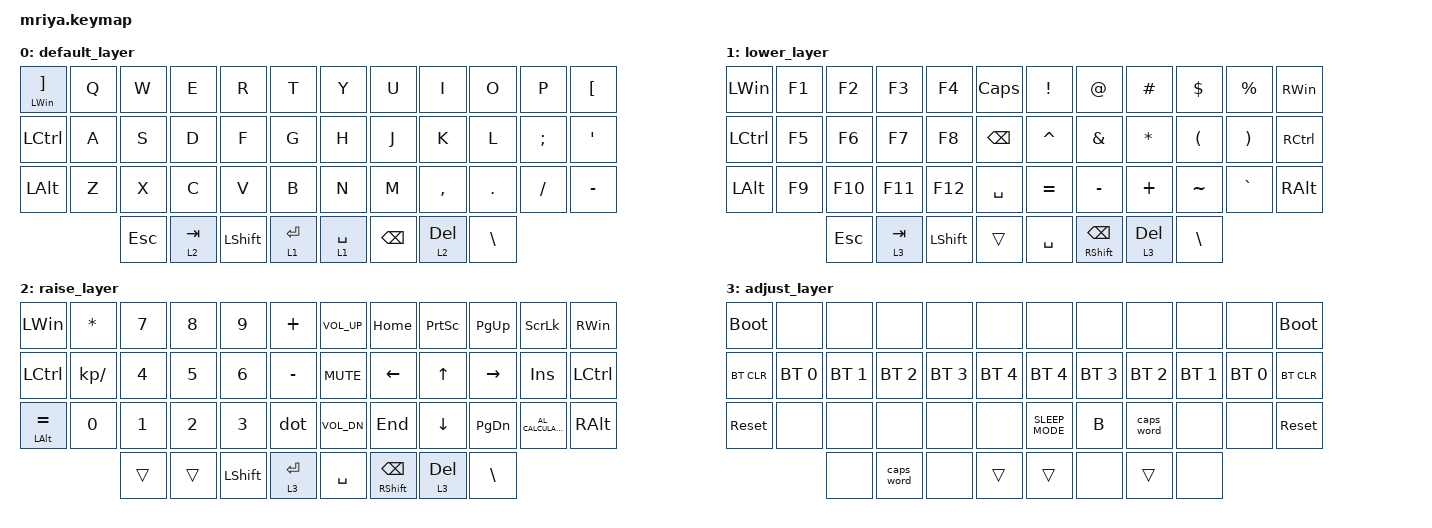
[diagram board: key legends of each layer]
/*
 * Copyright (c) 2023 Andrei Gaevskii
 *
 * SPDX-License-Identifier: MIT
 */

#include <behaviors.dtsi>
#include <dt-bindings/zmk/bt.h>
#include <dt-bindings/zmk/keys.h>

#define DEF 0
#define LWR 1
#define RSE 2
#define ADJ 3

&lt {
    quick_tap_ms = <200>;
    tapping-term-ms = <140>;
};

&mt {
    quick_tap_ms = <15>;
    tapping-term-ms = <150>;
};

/ {
    combos {
        compatible = "zmk,combos";

        firefox {
            bindings = <&kp LS(LA(LC(NUMBER_1)))>;
            key-positions = <15 16 17>;
        };

        delete {
            bindings = <&kp DEL>;
            key-positions = <4 17>;
        };

        minusexcel {
            bindings = <&kp LC(MINUS)>;
            key-positions = <1 2>;
        };

        minusgoogkle {
            bindings = <&MinusG>;
            key-positions = <0 1>;
        };

        space {
            bindings = <&kp SPACE>;
            key-positions = <3 5>;
        };

        UPUI {
            bindings = <&kp PAGE_UP>;
            key-positions = <2 3 4>;
        };

        DOWNj {
            bindings = <&kp PAGE_DOWN>;
            key-positions = <14 15 16>;
        };

        DelWord {
            bindings = <&kp LC(BACKSPACE)>;
            key-positions = <6 7 8>;
        };

        BS {
            bindings = <&kp BACKSPACE>;
            key-positions = <15 17>;
        };
    };

    behaviors {
        dot: dot {
            compatible = "zmk,behavior-tap-dance";
            label = "DOT";
            #binding-cells = <0>;
            bindings = <&kp DOT>, <&kp LS(SLASH)>, <&kp COMMA>;

            tapping-term-ms = <250>;
        };
    };

    macros {
        langswtich2: langswtich2 {
            compatible = "zmk,behavior-macro";
            #binding-cells = <0>;
            bindings =
                <&macro_press>,
                <&kp LEFT_ALT>,
                <&macro_tap>,
                <&kp LEFT_SHIFT>,
                <&macro_release>,
                <&kp LEFT_ALT>;

            label = "LANGSWTICH2";
        };

        MinusG: MinusG {
            compatible = "zmk,behavior-macro";
            #binding-cells = <0>;
            bindings =
                <&macro_press>,
                <&kp RIGHT_ALT>,
                <&macro_press>,
                <&kp RCTRL>,
                <&macro_tap>,
                <&kp MINUS>,
                <&macro_release>,
                <&kp RIGHT_ALT &kp RCTRL &kp MINUS>;

            label = "MINUSG";
        };
    };

    keymap {
        compatible = "zmk,keymap";

        default_layer {
            bindings = <
  &mt LEFT_WIN RIGHT_BRACKET  &kp Q  &kp W       &kp E      &kp R           &kp T        &kp Y        &kp U          &kp I      &kp O          &kp P      &kp LBKT
  &kp LCTRL                   &kp A  &kp S       &kp D      &kp F           &kp G        &kp H        &kp J          &kp K      &kp L          &kp SEMI   &kp SQT
  &kp LALT                    &kp Z  &kp X       &kp C      &kp V           &kp B        &kp N        &kp M          &kp COMMA  &kp DOT        &kp SLASH  &kp MINUS
                                     &kp ESCAPE  &lt 2 TAB  &kp LEFT_SHIFT  &lt 1 RET    &lt 1 SPACE  &kp BACKSPACE  &lt 2 DEL  &kp BACKSLASH
            >;
        };

        lower_layer {
            bindings = <
  &kp LEFT_WIN  &kp F1  &kp F2      &kp F3     &kp F4          &kp CAPSLOCK     &kp EXCLAMATION  &kp AT_SIGN                &kp HASH   &kp DOLLAR     &kp PERCENT  &kp RWIN
  &kp LCTRL     &kp F5  &kp F6      &kp F7     &kp F8          &kp BACKSPACE    &kp CARET        &kp AMPS                   &kp STAR   &kp LPAR       &kp RPAR     &kp RCTRL
  &kp LEFT_ALT  &kp F9  &kp F10     &kp F11    &kp F12         &kp SPACE        &kp EQUAL        &kp MINUS                  &kp PLUS   &kp TILDE      &kp GRAVE    &kp RIGHT_ALT
                        &kp ESCAPE  &lt 3 TAB  &kp LEFT_SHIFT  &trans           &kp SPACE        &mt RIGHT_SHIFT BACKSPACE  &lt 3 DEL  &kp BACKSLASH
            >;
        };

        raise_layer {
            bindings = <
  &kp LEFT_WIN        &kp ASTERISK  &kp NUMBER_7  &kp NUMBER_8  &kp NUMBER_9    &kp PLUS     &kp C_VOL_UP  &kp HOME                   &kp PSCRN     &kp PG_UP      &kp SLCK             &kp RWIN
  &kp LCTRL           &kp KP_SLASH  &kp NUMBER_4  &kp N5        &kp NUMBER_6    &kp MINUS    &kp C_MUTE    &kp LEFT                   &kp UP        &kp RIGHT      &kp INS              &kp LCTRL
  &mt LEFT_ALT EQUAL  &kp N0        &kp NUMBER_1  &kp NUMBER_2  &kp NUMBER_3    &dot         &kp C_VOL_DN  &kp END                    &kp DOWN      &kp PG_DN      &kp C_AL_CALCULATOR  &kp RIGHT_ALT
                                    &trans        &trans        &kp LEFT_SHIFT  &lt 3 RET    &kp SPACE     &mt RIGHT_SHIFT BACKSPACE  &lt 3 DELETE  &kp BACKSLASH
            >;
        };

        adjust_layer {
            bindings = <
  &bootloader  &none         &none         &none         &none         &none           &none             &none         &none         &none         &none         &bootloader
  &bt BT_CLR   &bt BT_SEL 0  &bt BT_SEL 1  &bt BT_SEL 2  &bt BT_SEL 3  &bt BT_SEL 4    &bt BT_SEL 4      &bt BT_SEL 3  &bt BT_SEL 2  &bt BT_SEL 1  &bt BT_SEL 0  &bt BT_CLR
  &sys_reset   &none         &none         &none         &none         &none           &kp C_SLEEP_MODE  &kp B         &caps_word    &none         &none         &sys_reset
                             &none         &caps_word    &none         &trans          &trans            &none         &trans        &none
            >;
        };
    };
};
